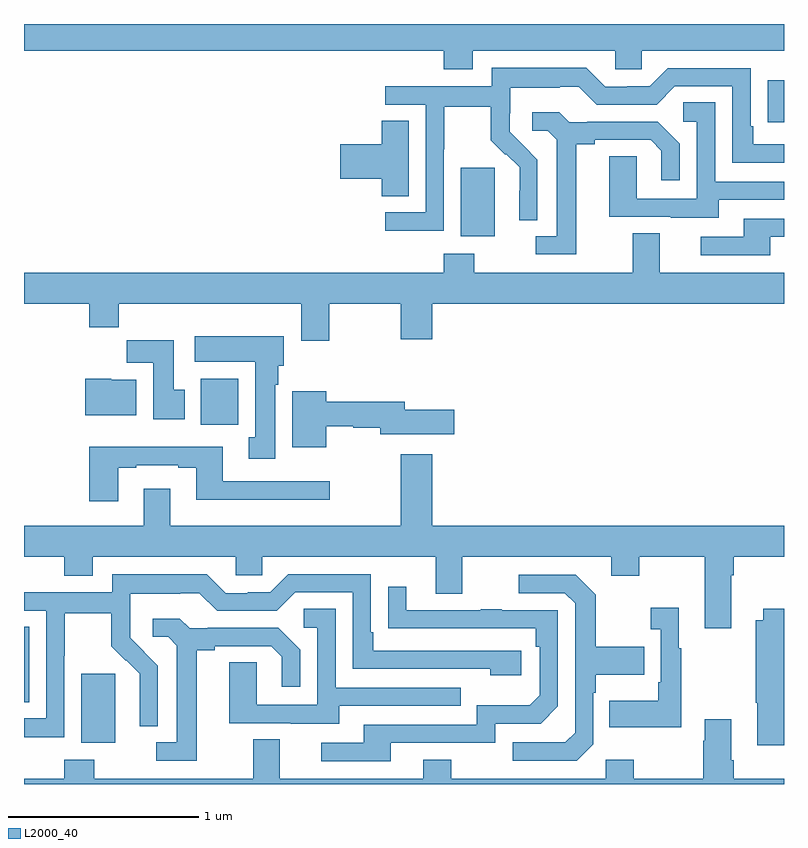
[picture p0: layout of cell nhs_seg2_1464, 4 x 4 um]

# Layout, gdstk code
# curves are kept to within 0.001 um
import gdstk
lib = gdstk.Library(unit=1e-6, precision=1e-09)
def R(c, l, rs):  # rectangles x0, y0, x1, y1
    for r in rs: c.add(gdstk.rectangle(r[:2], r[2:], *l))
def P(c, l, *ps):  # polygons
    for p in ps: c.add(gdstk.Polygon(p, *l))
L2000_40 = (2000, 40)

nhs_seg2_1464 = lib.new_cell('nhs_seg2_1464')
R(nhs_seg2_1464, L2000_40, [(187.301,620.018,187.48,620.379), (187,620.23,187.027,620.627), (187.931,621.692,188.128,621.934), (189.299,622.682,189.478,623.043), (190.915,623.284,191,623.503)])
P(nhs_seg2_1464, L2000_40, [(189.361,623.66),(190.113,623.66),(190.113,623.562),(190.251,623.562),(190.251,623.66),(191,623.66),(191,623.8),(187,623.8),(187,623.66),(189.209,623.66),(189.209,623.561),(189.361,623.561)],
  [(189.21,623.14),(189.213,623.14),(189.213,623.364),(189.457,623.364),(189.457,623.189),(189.534,623.112),(189.537,623.115),(189.608,623.045),(189.608,622.922),(189.606,622.922),(189.606,622.768),(189.702,622.768),(189.702,623.086),(189.556,623.234),(189.556,623.331),(189.558,623.331),(189.558,623.465),(189.821,623.465),(189.821,623.469),(189.921,623.469),(190.014,623.376),(190.329,623.376),(190.425,623.472),(190.728,623.472),(190.728,623.07),(191,623.07),(191,623.166),(190.837,623.166),(190.837,623.263),(190.824,623.263),(190.824,623.568),(190.389,623.568),(190.293,623.472),(190.175,623.472),(190.175,623.469),(190.059,623.469),(189.959,623.569),(189.462,623.569),(189.462,623.472),(188.901,623.472),(188.901,623.376),(189.114,623.376),(189.114,622.809),(188.901,622.809),(188.901,622.711),(189.21,622.711)],
  [(190.657,622.875),(191,622.875),(191,622.971),(190.638,622.971),(190.638,623.387),(190.47,623.387),(190.47,623.286),(190.542,623.286),(190.542,622.881),(190.224,622.881),(190.224,623.105),(190.079,623.105),(190.079,622.785),(190.403,622.785),(190.403,622.781),(190.657,622.781)],
  [(189.907,623.168),(190.003,623.168),(190.003,623.19),(190.298,623.19),(190.355,623.133),(190.355,622.977),(190.452,622.977),(190.452,623.17),(190.336,623.286),(189.964,623.286),(189.964,623.283),(189.87,623.283),(189.818,623.335),(189.675,623.335),(189.675,623.238),(189.756,623.238),(189.803,623.191),(189.803,622.683),(189.693,622.683),(189.693,622.587),(189.907,622.587)],
  [(189.025,623.291),(188.882,623.291),(188.882,623.168),(188.664,623.168),(188.664,622.985),(188.882,622.985),(188.882,622.894),(189.025,622.894)],
  [(190.927,622.68),(191,622.68),(191,622.776),(190.787,622.776),(190.787,622.68),(190.563,622.68),(190.563,622.584),(190.927,622.584)],
  [(188.607,622.328),(188.984,622.328),(188.984,622.14),(189.148,622.14),(189.148,622.328),(191,622.328),(191,622.492),(190.345,622.492),(190.345,622.7),(190.205,622.7),(190.205,622.492),(189.369,622.492),(189.369,622.591),(189.209,622.591),(189.209,622.492),(187,622.492),(187,622.328),(187.343,622.328),(187.343,622.204),(187.499,622.204),(187.499,622.328),(188.459,622.328),(188.459,622.134),(188.607,622.134)],
  [(188.323,621.902),(188.338,621.902),(188.338,622.002),(188.368,622.002),(188.368,622.156),(187.899,622.156),(187.899,622.022),(188.216,622.022),(188.216,621.626),(188.183,621.626),(188.183,621.513),(188.323,621.513)],
  [(187.846,621.876),(187.789,621.876),(187.789,622.135),(187.54,622.135),(187.54,622.016),(187.679,622.016),(187.679,621.72),(187.846,621.72)],
  [(187.591,621.928),(187.458,621.928),(187.458,621.934),(187.322,621.934),(187.322,621.74),(187.591,621.74)],
  [(188.59,621.684),(188.733,621.684),(188.733,621.676),(188.876,621.676),(188.876,621.641),(189.265,621.641),(189.265,621.771),(189.004,621.771),(189.004,621.812),(188.59,621.812),(188.59,621.868),(188.411,621.868),(188.411,621.572),(188.59,621.572)],
  [(187.495,621.465),(187.591,621.465),(187.591,621.477),(187.811,621.477),(187.811,621.465),(187.907,621.465),(187.907,621.296),(188.608,621.296),(188.608,621.393),(188.047,621.393),(188.047,621.574),(187.343,621.574),(187.343,621.288),(187.495,621.288)],
  [(190.723,620.9),(190.736,620.9),(190.736,620.996),(191,620.996),(191,621.16),(189.148,621.16),(189.148,621.535),(188.984,621.535),(188.984,621.16),(187.771,621.16),(187.771,621.355),(187.631,621.355),(187.631,621.16),(187,621.16),(187,620.996),(187.211,620.996),(187.211,620.897),(187.363,620.897),(187.363,620.996),(188.115,620.996),(188.115,620.898),(188.253,620.898),(188.253,620.996),(189.167,620.996),(189.167,620.802),(189.307,620.802),(189.307,620.996),(190.091,620.996),(190.091,620.897),(190.239,620.897),(190.239,620.996),(190.583,620.996),(190.583,620.619),(190.723,620.619)],
  [(187.212,620.476),(187.215,620.476),(187.215,620.7),(187.459,620.7),(187.459,620.525),(187.536,620.448),(187.539,620.451),(187.61,620.381),(187.61,620.258),(187.608,620.258),(187.608,620.104),(187.704,620.104),(187.704,620.422),(187.558,620.57),(187.558,620.667),(187.56,620.667),(187.56,620.801),(187.823,620.801),(187.823,620.805),(187.923,620.805),(188.016,620.712),(188.331,620.712),(188.427,620.808),(188.73,620.808),(188.73,620.406),(189.455,620.406),(189.455,620.372),(189.616,620.372),(189.616,620.502),(188.839,620.502),(188.839,620.599),(188.826,620.599),(188.826,620.904),(188.391,620.904),(188.295,620.808),(188.177,620.808),(188.177,620.805),(188.061,620.805),(187.961,620.905),(187.464,620.905),(187.464,620.808),(187,620.808),(187,620.712),(187.116,620.712),(187.116,620.145),(187,620.145),(187,620.047),(187.212,620.047)],
  [(189.996,620.01),(189.996,620.279),(190.009,620.279),(190.009,620.375),(190.265,620.375),(190.265,620.523),(190.009,620.523),(190.009,620.795),(189.903,620.901),(189.603,620.901),(189.603,620.805),(189.846,620.805),(189.9,620.751),(189.9,620.07),(189.849,620.019),(189.573,620.019),(189.573,619.923),(189.909,619.923)],
  [(188.929,620.016),(189.48,620.016),(189.48,620.118),(189.72,620.118),(189.81,620.208),(189.81,620.715),(189.515,620.715),(189.515,620.72),(189.403,620.72),(189.403,620.715),(189.013,620.715),(189.013,620.839),(188.917,620.839),(188.917,620.62),(189.694,620.619),(189.694,620.522),(189.714,620.522),(189.714,620.268),(189.661,620.215),(189.384,620.215),(189.384,620.112),(188.789,620.112),(188.789,620.016),(188.565,620.016),(188.565,619.92),(188.929,619.92)],
  [(190.459,620.515),(190.447,620.515),(190.447,620.728),(190.299,620.728),(190.299,620.615),(190.35,620.615),(190.35,620.335),(190.338,620.335),(190.338,620.239),(190.081,620.239),(190.081,620.099),(190.459,620.099)],
  [(188.659,620.211),(189.299,620.211),(189.299,620.307),(188.64,620.307),(188.64,620.723),(188.472,620.723),(188.472,620.622),(188.544,620.622),(188.544,620.217),(188.226,620.217),(188.226,620.441),(188.081,620.441),(188.081,620.121),(188.405,620.121),(188.405,620.117),(188.659,620.117)],
  [(191,620.722),(190.892,620.722),(190.892,620.662),(190.852,620.662),(190.852,620.227),(190.859,620.227),(190.859,620.004),(191,620.004)],
  [(187.909,620.504),(188.005,620.504),(188.005,620.526),(188.3,620.526),(188.357,620.469),(188.357,620.313),(188.454,620.313),(188.454,620.506),(188.338,620.622),(187.966,620.622),(187.966,620.619),(187.872,620.619),(187.82,620.671),(187.677,620.671),(187.677,620.574),(187.758,620.574),(187.805,620.527),(187.805,620.019),(187.695,620.019),(187.695,619.923),(187.909,619.923)],
  [(191,619.828),(190.736,619.828),(190.736,619.924),(190.723,619.924),(190.723,620.14),(190.583,620.14),(190.583,620.027),(190.576,620.027),(190.576,619.828),(190.209,619.828),(190.209,619.927),(190.062,619.927),(190.062,619.828),(189.249,619.828),(189.249,619.927),(189.101,619.927),(189.101,619.828),(188.347,619.828),(188.347,620.036),(188.207,620.036),(188.207,619.828),(187.371,619.828),(187.371,619.927),(187.211,619.927),(187.211,619.828),(187,619.828),(187,619.8),(191,619.8)])

lib.write_gds('nhs_seg2_1464.gds')
